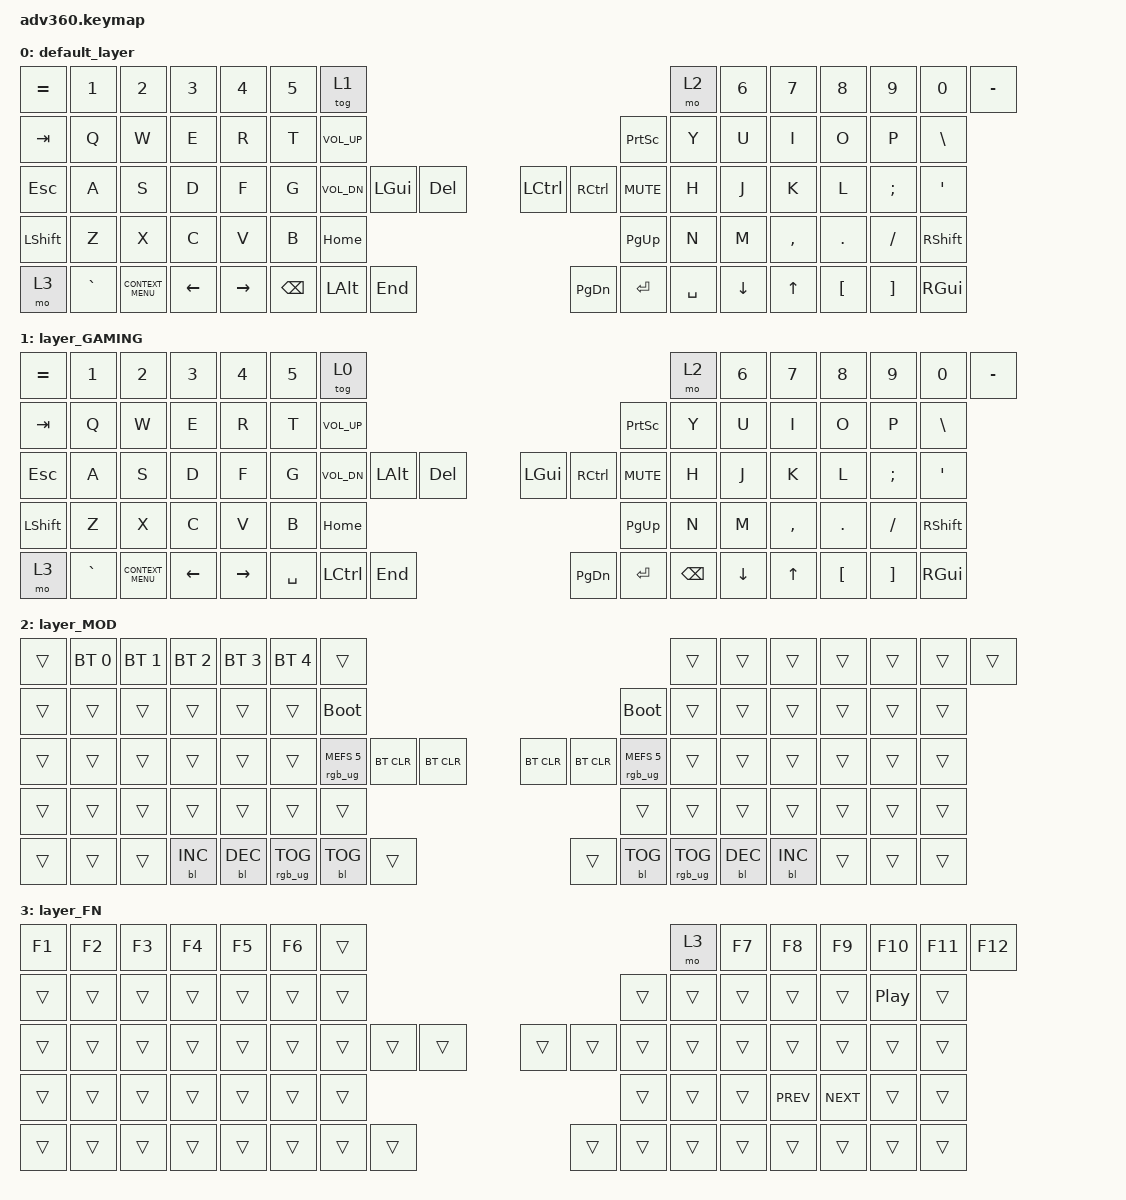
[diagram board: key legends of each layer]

/*
 * Copyright (c) 2020 The ZMK Contributors
 *
 * SPDX-License-Identifier: MIT
 */


/* THIS FILE WAS GENERATED!
 *
 * This file was generated automatically. You may or may not want to
 * edit it directly.
 */

#include <behaviors.dtsi>
#include <dt-bindings/zmk/keys.h>
#include <dt-bindings/zmk/bt.h>
#include <dt-bindings/zmk/rgb.h>
#include <dt-bindings/zmk/backlight.h>

/ {
  behaviors {
    #include "macros.dtsi"

    hm: homerow_mods {
        compatible = "zmk,behavior-hold-tap";
        label = "HOMEROW_MODS";
        #binding-cells = <2>;
        tapping-term-ms = <200>;
        quick_tap_ms = <175>;
        flavor = "tap-preferred";
        bindings = <&kp>, <&kp>;
    };
  };

    keymap {
        compatible = "zmk,keymap";


        default_layer {
            bindings = <
 &kp EQUAL     &kp N1              &kp N2    &kp N3     &kp N4  &kp N5                  &tog 1                                                                      &mo 2  &kp N6    &kp N7     &kp N8    &kp N9    &kp N0  &kp MINUS
   &kp TAB      &kp Q               &kp W     &kp E      &kp R   &kp T            &kp C_VOL_UP                                                            &kp PRINTSCREEN   &kp Y     &kp U      &kp I     &kp O     &kp P   &kp BSLH
   &kp ESC      &kp A               &kp S     &kp D      &kp F   &kp G            &kp C_VOL_DN  &kp LGUI   &kp DEL                  &kp LCTRL  &kp RCTRL       &kp C_MUTE   &kp H     &kp J      &kp K     &kp L  &kp SEMI    &kp SQT
 &kp LSHFT      &kp Z               &kp X     &kp C      &kp V   &kp B                                    &kp HOME                  &kp PG_UP                               &kp N     &kp M  &kp COMMA   &kp DOT  &kp FSLH  &kp RSHFT
     &mo 3  &kp GRAVE  &kp K_CONTEXT_MENU  &kp LEFT  &kp RIGHT                        &kp BSPC  &kp LALT   &kp END                  &kp PG_DN  &kp ENTER        &kp SPACE          &kp DOWN     &kp UP  &kp LBKT  &kp RBKT   &kp RGUI
            >;
        };

        layer_GAMING {
            bindings = <
 &kp EQUAL     &kp N1              &kp N2    &kp N3     &kp N4  &kp N5                  &tog 0                                                                       &mo 2  &kp N6    &kp N7     &kp N8    &kp N9    &kp N0  &kp MINUS
   &kp TAB      &kp Q               &kp W     &kp E      &kp R   &kp T            &kp C_VOL_UP                                                             &kp PRINTSCREEN   &kp Y     &kp U      &kp I     &kp O     &kp P   &kp BSLH
   &kp ESC      &kp A               &kp S     &kp D      &kp F   &kp G            &kp C_VOL_DN   &kp LALT   &kp DEL                   &kp LGUI  &kp RCTRL       &kp C_MUTE   &kp H     &kp J      &kp K     &kp L  &kp SEMI    &kp SQT
 &kp LSHFT      &kp Z               &kp X     &kp C      &kp V   &kp B                                     &kp HOME                  &kp PG_UP                               &kp N     &kp M  &kp COMMA   &kp DOT  &kp FSLH  &kp RSHFT
     &mo 3  &kp GRAVE  &kp K_CONTEXT_MENU  &kp LEFT  &kp RIGHT                       &kp SPACE  &kp LCTRL   &kp END                  &kp PG_DN  &kp ENTER    &kp BACKSPACE          &kp DOWN     &kp UP  &kp LBKT  &kp RBKT   &kp RGUI
            >;
        };

        layer_MOD {
            bindings = <
 &trans  &bt BT_SEL 0  &bt BT_SEL 1  &bt BT_SEL 2  &bt BT_SEL 3  &bt BT_SEL 4                            &trans                                                                                  &trans  &trans      &trans      &trans  &trans  &trans  &trans
 &trans        &trans        &trans        &trans        &trans        &trans                       &bootloader                                                                             &bootloader  &trans      &trans      &trans  &trans  &trans  &trans
 &trans        &trans        &trans        &trans        &trans        &trans            &rgb_ug RGB_MEFS_CMD 5  &bt BT_CLR  &bt BT_CLR                  &bt BT_CLR  &bt BT_CLR  &rgb_ug RGB_MEFS_CMD 5  &trans      &trans      &trans  &trans  &trans  &trans
 &trans        &trans        &trans        &trans        &trans        &trans                                                    &trans                      &trans                                      &trans      &trans      &trans  &trans  &trans  &trans
 &trans        &trans        &trans    &bl BL_INC    &bl BL_DEC                                 &rgb_ug RGB_TOG  &bl BL_TOG      &trans                      &trans  &bl BL_TOG         &rgb_ug RGB_TOG          &bl BL_DEC  &bl BL_INC  &trans  &trans  &trans
            >;
        };

        layer_FN {
            bindings = <
 &kp F1  &kp F2  &kp F3  &kp F4  &kp F5  &kp F6            &trans                                                   &mo 3  &kp F7  &kp F8      &kp F9     &kp F10   &kp F11  &kp F12
 &trans  &trans  &trans  &trans  &trans  &trans            &trans                                                  &trans  &trans  &trans      &trans      &trans  &kp C_PP   &trans
 &trans  &trans  &trans  &trans  &trans  &trans            &trans  &trans  &trans                  &trans  &trans  &trans  &trans  &trans      &trans      &trans    &trans   &trans
 &trans  &trans  &trans  &trans  &trans  &trans                            &trans                  &trans                  &trans  &trans  &kp C_PREV  &kp C_NEXT    &trans   &trans
 &trans  &trans  &trans  &trans  &trans                    &trans  &trans  &trans                  &trans  &trans  &trans          &trans      &trans      &trans    &trans   &trans
            >;
        };

    };
};
